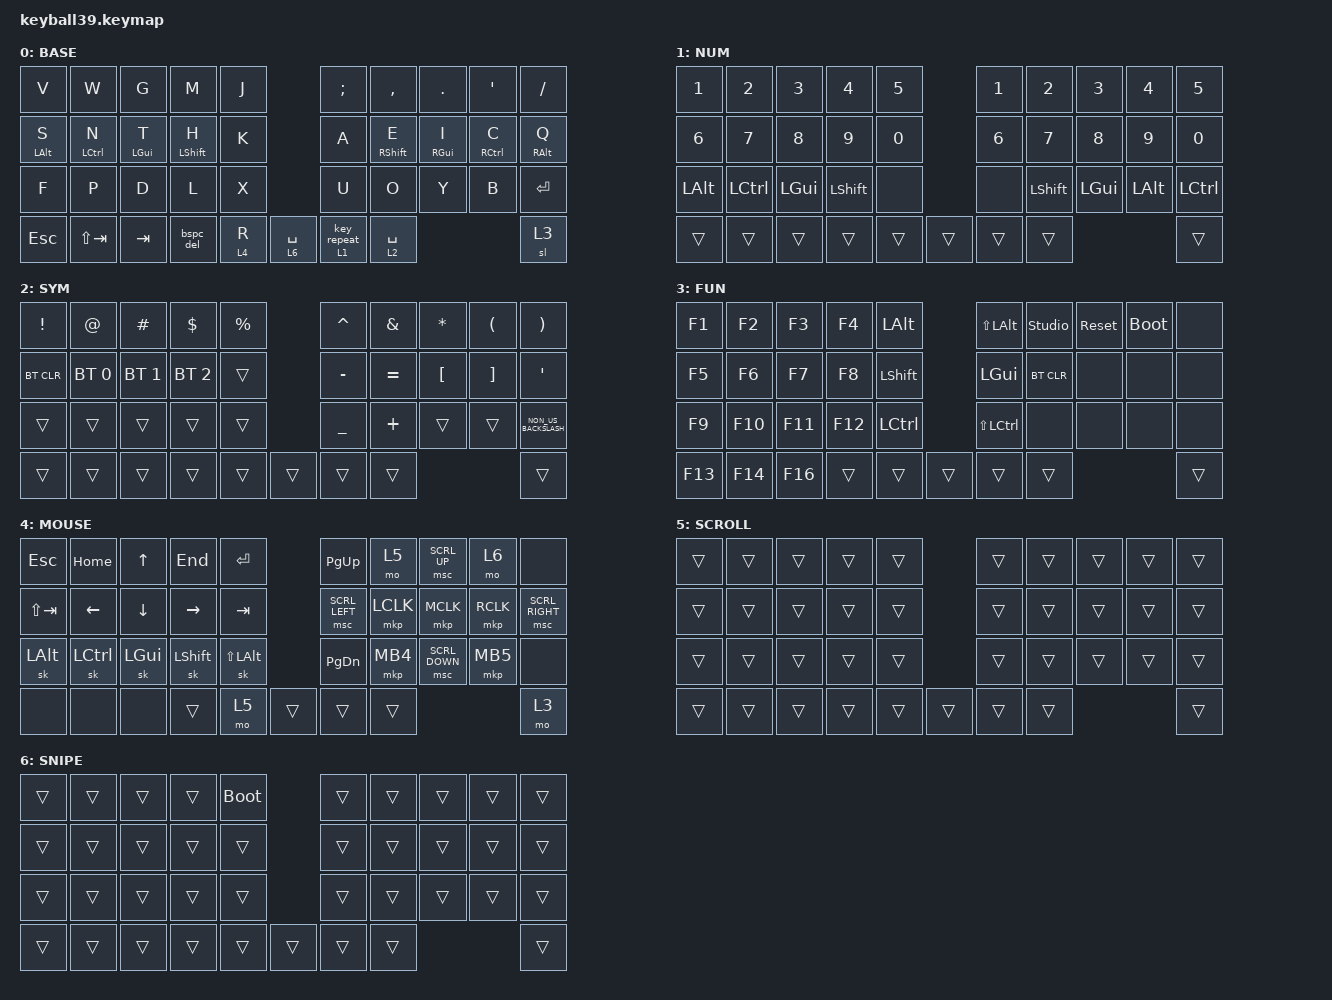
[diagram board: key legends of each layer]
#define DEFAULT 0
#define NUM     1
#define SYM     2
#define FUN     3
#define MOUSE   4
#define SCROLL  5
#define SNIPE   6

#include <behaviors/mouse_keys.dtsi>
#include <dt-bindings/zmk/mouse.h>
#include <behaviors.dtsi>
#include <dt-bindings/zmk/bt.h>
#include <dt-bindings/zmk/keys.h>

&lt {
    tapping-term-ms = <280>;
    flavor = "balanced";
    quick-tap-ms = <150>;
};

&mt {
    tapping-term-ms = <190>;
    flavor = "tap-preferred";
    quick-tap-ms = <150>;
};

/ {
    behaviors {

    bspc_del: bspc_del {
        compatible = "zmk,behavior-mod-morph";
        label = "BSPC_DEL";
        #binding-cells = <0>;

        /* Normal → Shift-modified */
        bindings = <&kp BSPC>, <&kp DEL>;

        /* Either shift triggers Delete */
        mods = <(MOD_LSFT | MOD_RSFT)>;
    };

kr_mo1: kr_mo1 {
    compatible = "zmk,behavior-hold-tap";
    label = "KR_MO1";
    #binding-cells = <2>;

    flavor = "tap-preferred";
    tapping-term-ms = <180>;
    quick-tap-ms = <150>;

    /* order: HOLD, then TAP */
    bindings = <&mo>, <&key_repeat>;
};

};

    combos {
        compatible = "zmk,combos";

        enter {
            bindings = <&kp ENTER>;
            key-positions = <12 13>;
        };

        exclamation {
            bindings = <&kp EXCL>;
            key-positions = <1 2 13>;
        };

        question {
            bindings = <&kp QMARK>;
            key-positions = <16 7 8>;
        };

        eject {
            bindings = <&tog 0>;
            key-positions = <34 37>;
        };

    };

macros {
};
    keymap {
        compatible = "zmk,keymap";

        default_layer {
            label = "BASE";
            bindings = <
&kp V       &kp W       &kp G      &kp M         &kp J                        &kp SEMI &kp COMMA   &kp DOT       &kp SQT        &kp SLASH
&mt LALT S  &mt LCTRL N &mt LGUI T &mt LSHFT H   &kp K                        &kp A    &mt RSHFT E &mt RGUI I    &mt RCTRL C    &mt RALT Q
&kp F       &kp P       &kp D      &kp L         &kp X                        &kp U    &kp O       &kp Y         &kp B          &kp ENTER
&kp ESC     &kp LS(TAB) &kp TAB    &bspc_del     &lt 4 R &lt 6 SPACE  &kr_mo1 1 0  &lt 2 SPACE                                       &sl 3
            >;
};

        number_layer {
            label = "NUM";
            bindings = <
&kp N1    &kp N2     &kp N3    &kp N4     &kp N5          &kp N1  &kp N2     &kp N3    &kp N4    &kp N5
&kp N6    &kp N7     &kp N8    &kp N9     &kp N0          &kp N6  &kp N7     &kp N8    &kp N9    &kp N0
&kp LALT  &kp LCTRL  &kp LGUI  &kp LSHFT  &none           &none   &kp LSHFT  &kp LGUI  &kp LALT  &kp LCTRL
&trans    &trans     &trans    &trans     &trans  &trans  &trans                                 &trans                                    &trans
            >;
        };

        symbol_layer {
            label = "SYM";
            bindings = <
&kp EXCLAMATION  &kp AT_SIGN   &kp HASH      &kp DOLLAR    &kp PERCENT                  &kp CARET       &kp AMPERSAND  &kp ASTERISK      &kp LEFT_PARENTHESIS  &kp RIGHT_PARENTHESIS
&bt BT_CLR       &bt BT_SEL 0  &bt BT_SEL 1  &bt BT_SEL 2  &trans                       &kp MINUS       &kp EQUAL      &kp LEFT_BRACKET  &kp RIGHT_BRACKET     &kp SQT
&trans           &trans        &trans        &trans        &trans                       &kp UNDERSCORE  &kp PLUS       &trans            &trans                &kp NON_US_BACKSLASH
&trans           &trans        &trans        &trans        &trans       &trans  &trans  &trans                                                                 &trans
            >;
        };

        function_layer {
            label = "FUN";
            bindings = <
&kp F1  &kp F2   &kp F3   &kp F4   &kp LALT                &kp LS(LALT)   &studio_unlock  &sys_reset  &bootloader  &none
&kp F5  &kp F6   &kp F7   &kp F8   &kp LSHFT               &kp LGUI       &bt BT_CLR      &none       &none        &none
&kp F9  &kp F10  &kp F11  &kp F12  &kp LCTRL               &kp LS(LCTRL)  &none           &none       &none        &none
&kp F13 &kp F14  &kp F16  &trans   &trans  &trans  &trans  &trans                                                  &trans
            >;
        };

        mouse_layer {
            label = "MOUSE";
            bindings = <
&kp ESC     &kp HOME     &kp UP    &kp END    &kp ENTER                       &kp PG_UP       &mo 5      &msc SCRL_UP    &mo 6      &none
&kp LS(TAB) &kp LEFT     &kp DOWN  &kp RIGHT  &kp TAB                         &msc SCRL_LEFT  &mkp LCLK  &mkp MCLK       &mkp RCLK  &msc SCRL_RIGHT
&sk LALT    &sk LCTRL    &sk LGUI  &sk LSHFT  &sk LS(LALT)                    &kp PG_DN       &mkp MB4   &msc SCRL_DOWN  &mkp MB5   &none
&none       &none        &none     &trans     &mo 5  &trans            &trans &trans                                                &mo 3
            >;
        };

        scroll_layer {
            label = "SCROLL";
            bindings = <
&trans  &trans  &trans  &trans  &trans                  &trans  &trans  &trans  &trans  &trans
&trans  &trans  &trans  &trans  &trans                  &trans  &trans  &trans  &trans  &trans
&trans  &trans  &trans  &trans  &trans                  &trans  &trans  &trans  &trans  &trans
&trans  &trans  &trans  &trans  &trans  &trans  &trans  &trans                          &trans
            >;
        };

        snipe_layer {
            label = "SNIPE";
            bindings = <
&trans  &trans  &trans  &trans  &bootloader                  &trans  &trans  &trans  &trans  &trans
&trans  &trans  &trans  &trans  &trans                       &trans  &trans  &trans  &trans  &trans
&trans  &trans  &trans  &trans  &trans                       &trans  &trans  &trans  &trans  &trans
&trans  &trans  &trans  &trans  &trans       &trans  &trans  &trans                          &trans
            >;
        };
    };
};
